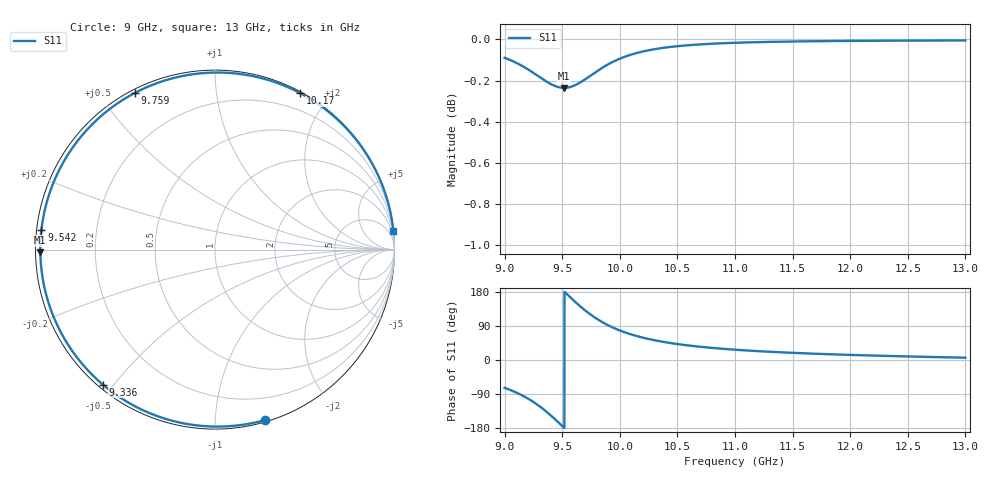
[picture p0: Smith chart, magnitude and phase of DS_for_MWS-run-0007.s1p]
! TOUCHSTONE file generated by CST DESIGN STUDIO
! Date and time: Tue Feb  4 12:36:34 2025
! Project name: C:\Work\MatlabApps\UnitCellOptimizationMatlab\CST\unitcell.cst
! Tree item: Tasks\Sweep1\SPara1\S-Parameters
! Header version: 2024
! Port assignment regex: !\s*Touchstone port\s*([0-9]+)\s*=\s*(CST MWS port|CST DES external port|CST DES block port)\s*(.+)\s* \(\"(.*)\"\)(\s*mode\s*([0-9]+))?.*
! Touchstone port assignment:
! Touchstone port 1 = CST DES external port 1 ("")
# GHz S MA R 50
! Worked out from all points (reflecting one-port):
!   4001 points, 9 GHz to 13 GHz, reference 50 ohm
!   lowest |S11| = -0.2 dB at 9.517 GHz (marker M1), VSWR 73.69, Z = 0.679 - j0.371 ohm
!   phase of S11 starts at -73 deg and turns -280 deg over the sweep
!   S11 on the Smith chart (normalised r, x): 9 GHz: 0.01, -1.34; 9.336 GHz: 0.01, -0.47; 9.542 GHz: 0.01, +0.06; 9.759 GHz: 0.01, +0.61; 10.17 GHz: 0.01, +1.68; 13 GHz: 0, +19
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9  0.9897 -73.5
9.091  0.9873 -84.5
9.196  0.9836 -100.7
9.269  0.9806 -114.7
9.336  0.9777 -129.7
9.381  0.976 -141.0
9.427  0.9745 -153.3
9.464  0.9737 -163.8
9.5  0.9733 -174.2
9.517  0.9732 -179.2
9.542  0.9733 173.5
9.596  0.9742 158.0
9.656  0.9762 141.7
9.707  0.9782 128.9
9.759  0.9805 117.1
9.809  0.9827 107.0
9.864  0.9849 97.2
10  0.9892 77.9
10.081  0.9912 69.2
10.169  0.9928 61.4
10.32  0.9947 51.0
10.5  0.9962 42.1
10.722  0.9973 34.1
11  0.9981 27.1
11.5  0.9988 18.9
12  0.9991 13.4
12.5  0.9993 9.4
13  0.9994 6.1
